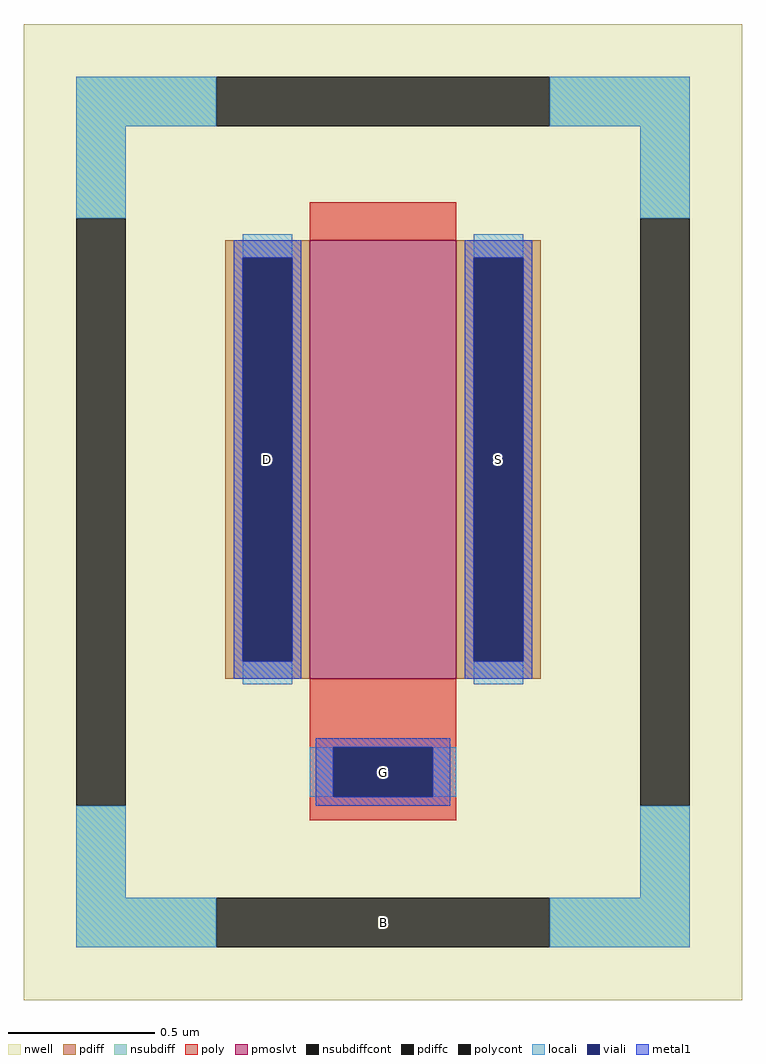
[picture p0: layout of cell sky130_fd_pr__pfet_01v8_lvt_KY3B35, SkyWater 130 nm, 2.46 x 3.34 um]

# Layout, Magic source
magic
tech sky130A
magscale 1 2
<< nwell >>
rect -246 -334 246 334
<< pmoslvt >>
rect -50 -114 50 186
<< pdiff >>
rect -108 174 -50 186
rect -108 -102 -96 174
rect -62 -102 -50 174
rect -108 -114 -50 -102
rect 50 174 108 186
rect 50 -102 62 174
rect 96 -102 108 174
rect 50 -114 108 -102
<< pdiffc >>
rect -96 -102 -62 174
rect 62 -102 96 174
<< nsubdiff >>
rect -210 264 -114 298
rect 114 264 210 298
rect -210 201 -176 264
rect 176 201 210 264
rect -210 -264 -176 -201
rect 176 -264 210 -201
rect -210 -298 -114 -264
rect 114 -298 210 -264
<< nsubdiffcont >>
rect -114 264 114 298
rect -210 -201 -176 201
rect 176 -201 210 201
rect -114 -298 114 -264
<< poly >>
rect -50 186 50 212
rect -50 -161 50 -114
rect -50 -195 -34 -161
rect 34 -195 50 -161
rect -50 -211 50 -195
<< polycont >>
rect -34 -195 34 -161
<< locali >>
rect -210 264 -114 298
rect 114 264 210 298
rect -210 201 -176 264
rect 176 201 210 264
rect -96 174 -62 190
rect -96 -118 -62 -102
rect 62 174 96 190
rect 62 -118 96 -102
rect -50 -195 -34 -161
rect 34 -195 50 -161
rect -210 -264 -176 -201
rect 176 -264 210 -201
rect -210 -298 -114 -264
rect 114 -298 210 -264
<< viali >>
rect -96 -102 -62 174
rect 62 -102 96 174
rect -34 -195 34 -161
<< metal1 >>
rect -102 174 -56 186
rect -102 -102 -96 174
rect -62 -102 -56 174
rect -102 -114 -56 -102
rect 56 174 102 186
rect 56 -102 62 174
rect 96 -102 102 174
rect 56 -114 102 -102
rect -46 -161 46 -155
rect -46 -195 -34 -161
rect 34 -195 46 -161
rect -46 -201 46 -195
<< labels >>
rlabel nsubdiffcont 0 -281 0 -281 0 B
port 1 nsew
rlabel pdiffc -79 36 -79 36 0 D
port 2 nsew
rlabel pdiffc 79 36 79 36 0 S
port 3 nsew
rlabel polycont 0 -178 0 -178 0 G
port 4 nsew
<< properties >>
string FIXED_BBOX -193 -281 193 281
string gencell sky130_fd_pr__pfet_01v8_lvt
string library sky130
string parameters w 1.5 l 0.5 m 1 nf 1 diffcov 100 polycov 100 guard 1 glc 1 grc 1 gtc 1 gbc 1 tbcov 100 rlcov 100 topc 0 botc 1 poverlap 0 doverlap 1 lmin 0.35 wmin 0.42 class mosfet compatible {sky130_fd_pr__pfet_01v8  sky130_fd_pr__pfet_01v8_lvt sky130_fd_pr__pfet_01v8_hvt  sky130_fd_pr__pfet_g5v0d10v5} full_metal 1 conn_gates 0 viasrc 100 viadrn 100 viagate 100 viagb 0 viagr 0 viagl 0 viagt 0 doports 1
<< end >>
